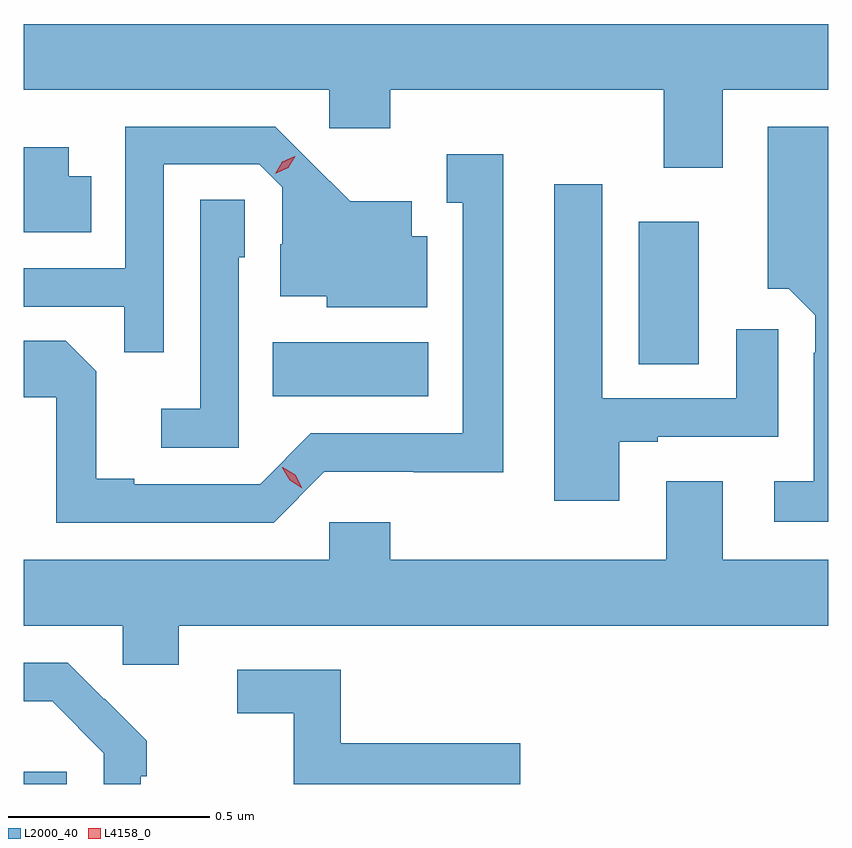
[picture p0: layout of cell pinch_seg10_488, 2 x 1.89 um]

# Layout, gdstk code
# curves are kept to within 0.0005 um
import gdstk
lib = gdstk.Library(unit=1e-6, precision=1e-09)
def R(c, l, rs):  # rectangles x0, y0, x1, y1
    for r in rs: c.add(gdstk.rectangle(r[:2], r[2:], *l))
def P(c, l, *ps):  # polygons
    for p in ps: c.add(gdstk.Polygon(p, *l))
L2000_40 = (2000, 40)
L4158_0 = (4158, 0)

pinch_seg10_488 = lib.new_cell('pinch_seg10_488')
R(pinch_seg10_488, L2000_40, [(335.439,1309.246,335.545,1309.276), (336.058,1310.21,336.445,1310.344), (336.968,1310.29,337.117,1310.644)])
P(pinch_seg10_488, L2000_40, [(337.177,1310.972),(337.439,1310.972),(337.439,1311.136),(335.439,1311.136),(335.439,1310.972),(336.198,1310.972),(336.198,1310.877),(336.35,1310.877),(336.35,1310.972),(337.03,1310.972),(337.03,1310.778),(337.177,1310.778)],
  [(337.439,1310.881),(337.289,1310.881),(337.289,1310.478),(337.341,1310.478),(337.407,1310.412),(337.407,1310.318),(337.403,1310.318),(337.403,1309.999),(337.305,1309.999),(337.305,1309.898),(337.439,1309.898)],
  [(335.787,1310.787),(336.024,1310.787),(336.081,1310.73),(336.081,1310.588),(336.077,1310.588),(336.077,1310.459),(336.192,1310.459),(336.192,1310.432),(336.442,1310.432),(336.442,1310.608),(336.403,1310.608),(336.403,1310.695),(336.251,1310.695),(336.064,1310.88),(335.691,1310.88),(335.691,1310.529),(335.439,1310.529),(335.439,1310.433),(335.689,1310.433),(335.689,1310.32),(335.787,1310.32)],
  [(335.606,1310.758),(335.551,1310.758),(335.551,1310.83),(335.439,1310.83),(335.439,1310.618),(335.606,1310.618)],
  [(336.186,1310.022),(336.408,1310.022),(336.408,1310.021),(336.631,1310.021),(336.631,1310.812),(336.491,1310.812),(336.491,1310.691),(336.53,1310.691),(336.53,1310.118),(336.153,1310.118),(336.027,1309.992),(335.713,1309.992),(335.713,1310.005),(335.619,1310.005),(335.619,1310.272),(335.543,1310.348),(335.439,1310.348),(335.439,1310.208),(335.52,1310.208),(335.52,1309.896),(336.06,1309.896)],
  [(336.919,1310.097),(337.015,1310.097),(337.015,1310.109),(337.315,1310.109),(337.315,1310.377),(337.211,1310.377),(337.211,1310.205),(336.877,1310.205),(336.877,1310.737),(336.758,1310.737),(336.758,1309.95),(336.919,1309.95)],
  [(335.973,1310.556),(335.988,1310.556),(335.988,1310.699),(335.877,1310.699),(335.877,1310.179),(335.781,1310.179),(335.781,1310.082),(335.973,1310.082)],
  [(335.824,1309.64),(337.439,1309.64),(337.439,1309.804),(337.177,1309.804),(337.177,1309.999),(337.037,1309.999),(337.037,1309.804),(336.35,1309.804),(336.35,1309.897),(336.198,1309.897),(336.198,1309.804),(335.439,1309.804),(335.439,1309.64),(335.685,1309.64),(335.685,1309.542),(335.824,1309.542)],
  [(335.73,1309.265),(335.745,1309.265),(335.745,1309.353),(335.64,1309.458),(335.639,1309.457),(335.548,1309.548),(335.439,1309.548),(335.439,1309.452),(335.509,1309.452),(335.637,1309.323),(335.637,1309.246),(335.73,1309.246)],
  [(336.673,1309.347),(336.227,1309.347),(336.227,1309.53),(335.97,1309.53),(335.97,1309.422),(336.11,1309.422),(336.11,1309.246),(336.673,1309.246)])
P(pinch_seg10_488, L4158_0, [(336.131,1309.982),(336.1,1310.001),(336.082,1310.033),(336.082,1310.034),(336.083,1310.034),(336.114,1310.015),(336.131,1309.982),(336.131,1309.982)],
  [(336.064,1310.763),(336.064,1310.764),(336.082,1310.793),(336.113,1310.807),(336.114,1310.807),(336.114,1310.807),(336.096,1310.778),(336.064,1310.763)])

lib.write_gds('pinch_seg10_488.gds')
